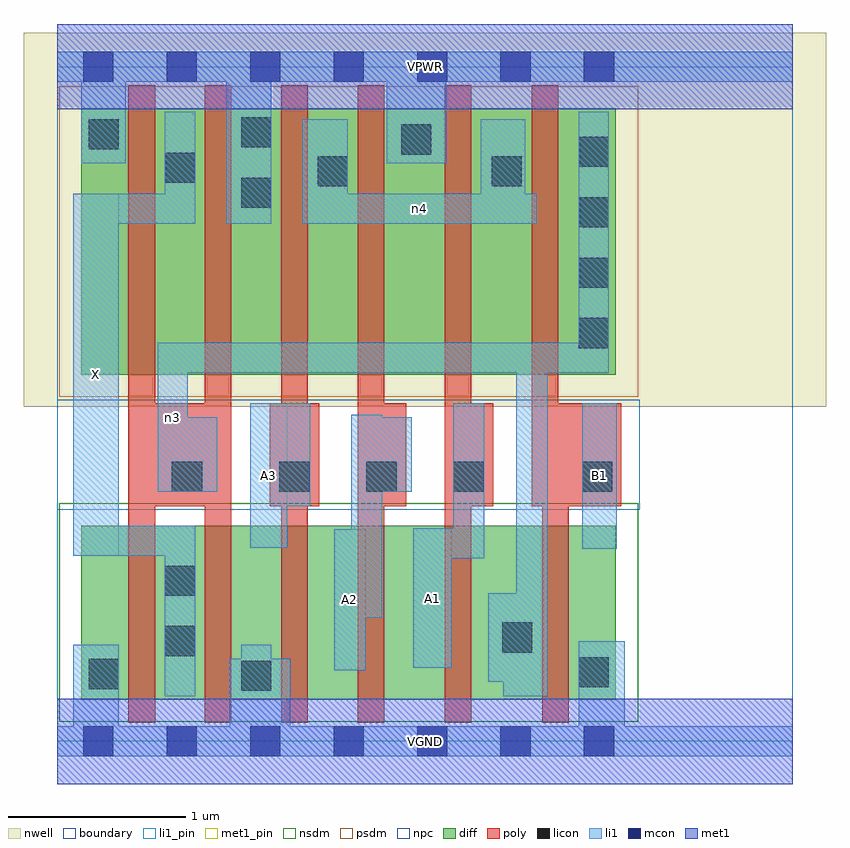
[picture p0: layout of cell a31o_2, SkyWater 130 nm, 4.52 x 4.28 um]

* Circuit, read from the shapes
.subckt a31o_2 A1 A2 A3 B1 VGND VPWR X n3 n4
XM1 X n3 VGND VSUBS sky130_fd_pr__nfet_01v8 w=0.98 l=0.15 m=2
XM2 n1 A3 VGND VSUBS sky130_fd_pr__nfet_01v8 w=0.98 l=0.15
XM3 n2 A2 n1 VSUBS sky130_fd_pr__nfet_01v8 w=0.98 l=0.15
XM4 n3 A1 n2 VSUBS sky130_fd_pr__nfet_01v8 w=0.98 l=0.15
XM5 VGND B1 n3 VSUBS sky130_fd_pr__nfet_01v8 w=0.98 l=0.15
XM6 X n3 VPWR n5 sky130_fd_pr__pfet_01v8 w=1.5 l=0.15 m=2
XM7 n4 A3 VPWR n5 sky130_fd_pr__pfet_01v8 w=1.5 l=0.15
XM8 VPWR A2 n4 n5 sky130_fd_pr__pfet_01v8 w=1.5 l=0.15
XM9 n4 A1 VPWR n5 sky130_fd_pr__pfet_01v8 w=1.5 l=0.15
XM10 n3 B1 n4 n5 sky130_fd_pr__pfet_01v8 w=1.5 l=0.15
.ends

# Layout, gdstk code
import gdstk
lib = gdstk.Library(unit=1e-6, precision=1e-09)
def R(c, l, rs):  # rectangles x0, y0, x1, y1
    for r in rs: c.add(gdstk.rectangle(r[:2], r[2:], *l))
def A(c, l, x, y, w, h, nx, ny, dx, dy):  # array of equal rectangles
    R(c, l, [(x+i*dx, y+j*dy, x+i*dx+w, y+j*dy+h) for i in range(nx) for j in range(ny)])
nwell = (64, 20)
diff = (65, 20)
poly = (66, 20)
licon = (66, 44)
li1_pin = (67, 16)
li1 = (67, 20)
mcon = (67, 44)
met1_pin = (68, 16)
met1 = (68, 20)
nsdm = (93, 44)
psdm = (94, 20)
npc = (95, 20)
boundary = (235, 4)

a31o_2 = lib.new_cell('a31o_2')
R(a31o_2, nwell, [(-0.19,1.885,4.33,3.99), (0,1.885,4.14,3.99)])
R(a31o_2, diff, [(0.135,0.235,3.145,1.215), (0.135,2.065,3.145,3.565)])
A(a31o_2, poly, 0.4, 0.105, 0.15, 3.59, 4, 1, 0.43, 0)
R(a31o_2, poly, [(2.18,0.105,2.33,3.695), (2.73,0.105,2.88,1.905), (0.4,1.325,0.98,1.905), (1.195,1.325,1.475,1.905), (1.69,1.325,1.965,1.905), (2.18,1.325,2.455,1.905), (2.67,1.325,2.82,3.695), (2.67,1.325,3.175,1.905)])
A(a31o_2, licon, 1.25, 1.405, 0.17, 0.17, 3, 1, 0.49, 0)
A(a31o_2, licon, 2.935, 2.215, 0.17, 0.17, 1, 4, 0, 0.34)
R(a31o_2, licon, [(1.035,0.285,1.205,0.455), (0.175,0.295,0.345,0.465), (2.935,0.305,3.105,0.475), (0.605,0.48,0.775,0.65), (2.505,0.5,2.675,0.67), (0.605,0.82,0.775,0.99), (0.645,1.405,0.815,1.575), (2.955,1.405,3.125,1.575), (1.035,3.005,1.205,3.175), (1.465,3.125,1.635,3.295), (2.445,3.125,2.615,3.295), (0.605,3.145,0.775,3.315), (1.935,3.305,2.105,3.475), (0.175,3.335,0.345,3.505), (1.035,3.345,1.205,3.515)])
R(a31o_2, li1_pin, [(1.56,0.4,1.735,1.195), (2.005,0.415,2.22,1.2), (0.09,1.045,0.345,3.085), (2.955,1.085,3.15,1.905), (1.085,1.09,1.295,1.905)])
R(a31o_2, li1, [(0,-0.085,4.14,0.085), (0.09,-0.085,0.345,0.545), (0.97,-0.085,1.31,0.465), (1.035,-0.085,1.205,0.545), (2.935,-0.085,3.195,0.565), (0.605,0.255,0.775,1.215), (2.51,0.255,2.76,0.835), (2.585,0.255,2.76,2.245), (2.425,0.335,2.76,0.835), (1.56,0.4,1.735,1.195), (2.005,0.415,2.22,1.2), (1.655,0.695,1.83,1.84), (2.005,1.03,2.405,1.2), (2.23,1.03,2.405,1.905), (0.09,1.045,0.345,3.085), (0.09,1.045,0.775,1.215), (2.955,1.085,3.15,1.905), (1.085,1.09,1.295,1.905), (1.085,1.325,1.425,1.905), (0.565,1.405,0.735,2.245), (0.565,1.405,0.9,1.825), (1.655,1.405,1.995,1.825), (0.565,2.075,3.105,2.245), (2.935,2.075,3.105,3.545), (0.09,2.915,0.775,3.085), (0.605,2.915,0.775,3.545), (0.95,2.915,1.205,3.885), (1.38,2.915,2.7,3.085), (1.38,2.915,1.635,3.505), (2.385,2.915,2.635,3.505), (0.135,3.255,0.385,3.885), (1.855,3.255,2.19,3.885), (0,3.715,4.14,3.885)])
A(a31o_2, mcon, 0.145, -0.085, 0.17, 0.17, 7, 2, 0.47, 3.8)
R(a31o_2, met1_pin, [(0,-0.24,4.14,0.24), (0,3.56,4.14,4.04)])
R(a31o_2, met1, [(0,-0.24,4.14,0.24), (0,3.56,4.14,4.04)])
R(a31o_2, nsdm, [(0.01,0.11,3.27,1.34)])
R(a31o_2, psdm, [(0.01,1.94,3.27,3.69)])
R(a31o_2, npc, [(0,1.305,3.28,1.925)])
R(a31o_2, boundary, [(0,0,4.14,3.8)])
a31o_2.add(gdstk.Label('A1', (2.112,0.807), layer=67, texttype=5))
a31o_2.add(gdstk.Label('A2', (1.647,0.797), layer=67, texttype=5))
a31o_2.add(gdstk.Label('A3', (1.19,1.497), layer=67, texttype=5))
a31o_2.add(gdstk.Label('B1', (3.052,1.495), layer=67, texttype=5))
a31o_2.add(gdstk.Label('X', (0.217,2.065), layer=67, texttype=5))
a31o_2.add(gdstk.Label('n4', (2.04,3), layer=67, texttype=5))
a31o_2.add(gdstk.Label('n3', (0.65,1.825), layer=67, texttype=5))
a31o_2.add(gdstk.Label('VPWR', (2.07,3.8), layer=68, texttype=5))
a31o_2.add(gdstk.Label('VGND', (2.07,0), layer=68, texttype=5))
a31o_2.add(gdstk.Label('A1', (2.112,0.807), layer=67, texttype=16))
a31o_2.add(gdstk.Label('A2', (1.647,0.797), layer=67, texttype=16))
a31o_2.add(gdstk.Label('A3', (1.19,1.497), layer=67, texttype=16))
a31o_2.add(gdstk.Label('B1', (3.052,1.495), layer=67, texttype=16))
a31o_2.add(gdstk.Label('X', (0.217,2.065), layer=67, texttype=16))
a31o_2.add(gdstk.Label('VPWR', (2.07,3.8), layer=68, texttype=16))
a31o_2.add(gdstk.Label('VGND', (2.07,0), layer=68, texttype=16))

lib.write_gds('a31o_2.gds')
